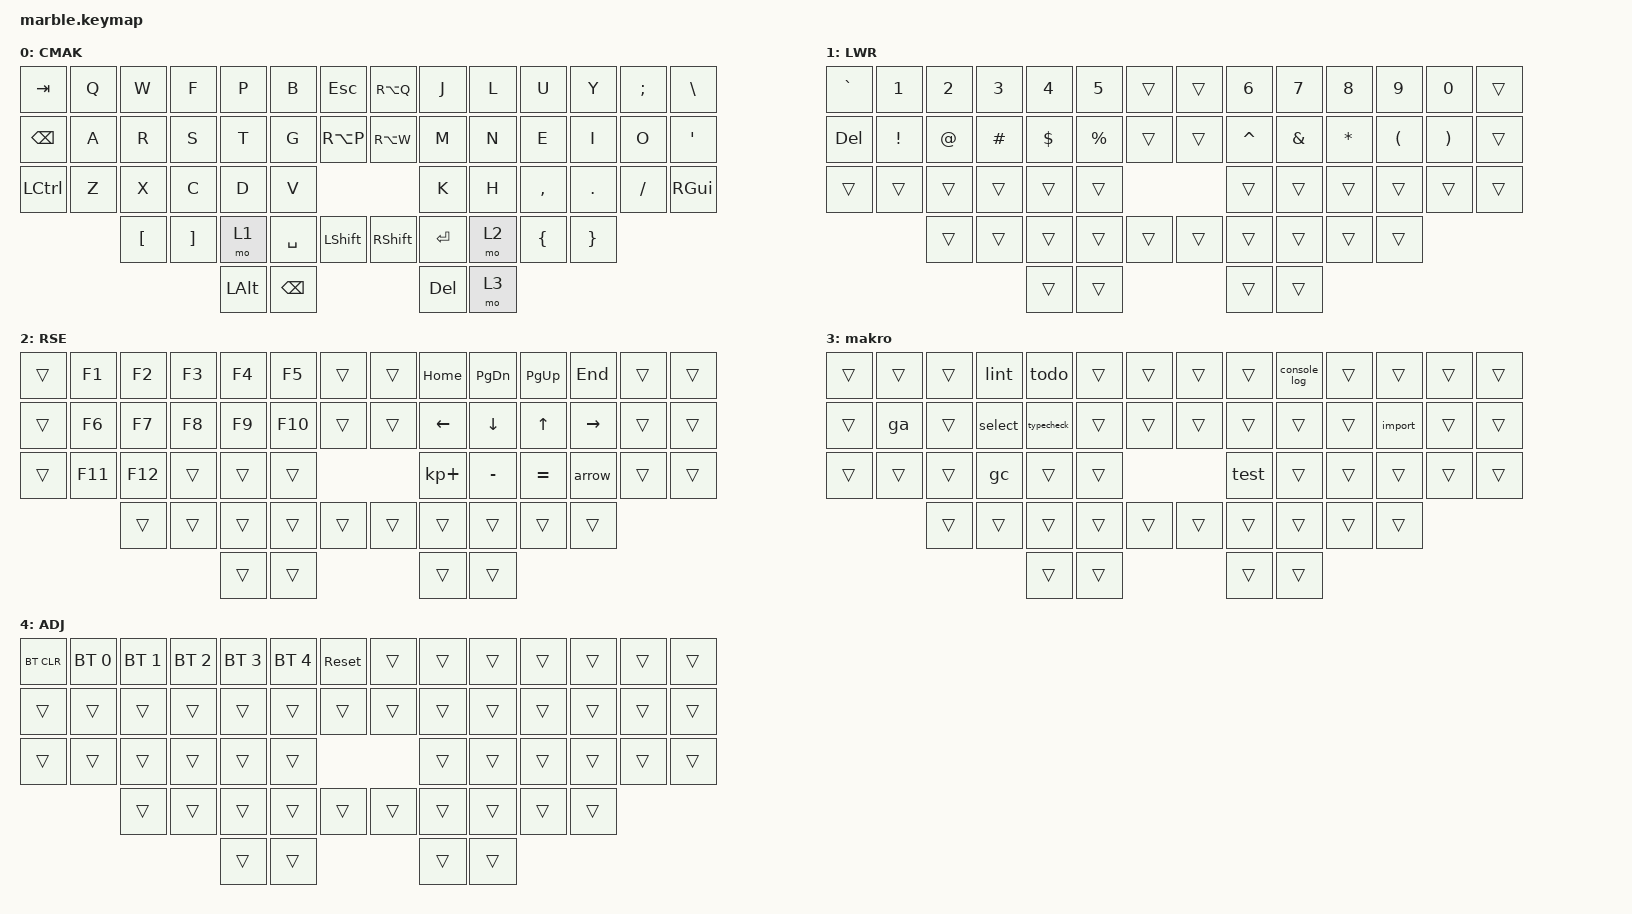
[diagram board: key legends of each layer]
#include <behaviors.dtsi>
#include <dt-bindings/zmk/bt.h>
#include <dt-bindings/zmk/keys.h>

#define CMAK   0
#define LWR   1
#define RSE   2
#define LFT 3
#define RGT 4
#define QWERTY 5
#define ADJ   6

#define HPR(key) LS(LC(LA(LGUI)))
#define MEH(key)   LS(LC(LALT))

&sl { release-after-ms = <5000>; };

&lt { flavor = "hold-preferred"; };

&default_kscan {
    debounce-press-ms = <30>;
    debounce-release-ms = <30>;
};

/ {
    behaviors {
        gqt: global-quick-tap {
            compatible = "zmk,behavior-hold-tap";
            label = "GLOBAL_QUICK_TAP";
            #binding-cells = <2>;
            flavor = "tap-preferred";
            tapping-term-ms = <140>;
            quick-tap-ms = <125>;
            global-quick-tap;
            bindings = <&kp>, <&kp>;

            require-prior-idle-ms = <100>;
        };
    };

    conditional_layers {
        compatible = "zmk,conditional-layers";

        tri_layer {
            if-layers = <2 1>;
            then-layer = <4>;
        };
    };

    macros {
        arrow: arrow {
            compatible = "zmk,behavior-macro";
            label = "ARROW";
            #binding-cells = <0>;
            bindings = <&kp EQUAL &kp GT>;
        };

        gc: gc {
            compatible = "zmk,behavior-macro";
            label = "GC";
            #binding-cells = <0>;
            bindings = <&kp G &kp I &kp T &kp SPACE &kp C &kp O &kp M &kp M &kp I &kp T &kp SPACE &kp MINUS &kp M &kp SPACE &kp DQT &kp DQT &kp LEFT_ARROW>;
        };

        ga: ga {
            compatible = "zmk,behavior-macro";
            label = "GA";
            #binding-cells = <0>;
            bindings = <&kp G &kp I &kp T &kp SPACE &kp A &kp D &kp D &kp SPACE &kp MINUS &kp LS(A)>;
        };

        select: select {
            compatible = "zmk,behavior-macro";
            #binding-cells = <0>;
            bindings = <&none &kp S &kp E &kp L &kp E &kp C &kp T &kp SPACE &kp STAR &kp SPACE &kp F &kp R &kp O &kp M &kp SPACE>;
            label = "SELECT";
        };

        todo: todo {
            compatible = "zmk,behavior-macro";
            #binding-cells = <0>;
            bindings = <&none &kp FSLH &kp FSLH &kp SPACE &kp LS(T) &kp LS(O) &kp LS(D) &kp LS(O) &kp COLON &kp SPACE>;
            label = "TODO";
        };

        console_log: console_log {
            compatible = "zmk,behavior-macro";
            #binding-cells = <0>;
            bindings = <&kp HOME &kp C &kp O &kp N &kp S &kp O &kp L &kp E &kp DOT &kp L &kp O &kp G &kp LPAR &kp END &kp RPAR &kp SEMI>;
            label = "CONSOLE_LOG";
        };

        import: import {
            compatible = "zmk,behavior-macro";
            #binding-cells = <0>;
            bindings = <&none &kp I &kp M &kp P &kp O &kp R &kp T &kp SPACE &kp LBRC &kp SPACE &kp RBRC &kp SPACE &kp F &kp R &kp O &kp M &kp SPACE &kp SQT &kp SQT &kp SEMI &kp LEFT &kp LEFT_ARROW>;
            label = "IMPORT";
        };

        typecheck: typecheck {
            compatible = "zmk,behavior-macro";
            #binding-cells = <0>;
            bindings = <&none &kp P &kp N &kp P &kp M &kp SPACE &kp T &kp Y &kp P &kp E &kp C &kp H &kp E &kp C &kp K>;
            label = "TYPECHECK";
        };

        lint: lint {
            compatible = "zmk,behavior-macro";
            #binding-cells = <0>;
            bindings = <&none &kp P &kp N &kp P &kp M &kp SPACE &kp L &kp I &kp N &kp T &kp SPACE &kp MINUS &kp MINUS &kp SPACE &kp MINUS &kp MINUS &kp F &kp I &kp X>;
            label = "LINT";
        };

        test: test {
            compatible = "zmk,behavior-macro";
            #binding-cells = <0>;
            bindings = <&none &kp P &kp N &kp P &kp M &kp SPACE &kp T &kp E &kp S &kp T>;
            label = "TEST";
        };
    };

    keymap {
        compatible = "zmk,keymap";

        CMAK {
            bindings = <
&kp TAB        &kp Q  &kp W             &kp F              &kp P         &kp B          &kp ESC         &kp RA(Q)        &kp J       &kp L  &kp U           &kp Y            &kp SEMI  &kp BSLH
&kp BACKSPACE  &kp A  &kp R             &kp S              &kp T         &kp G          &kp RA(P)       &kp RA(W)        &kp M       &kp N  &kp E           &kp I            &kp O     &kp SQT
&kp LCTRL      &kp Z  &kp X             &kp C              &kp D         &kp V                                           &kp K       &kp H  &kp COMMA       &kp DOT          &kp FSLH  &kp RIGHT_GUI
                      &kp LEFT_BRACKET  &kp RIGHT_BRACKET  &mo 1         &kp SPACE      &kp LEFT_SHIFT  &kp RIGHT_SHIFT  &kp RETURN  &mo 2  &kp LEFT_BRACE  &kp RIGHT_BRACE
                                                           &kp LEFT_ALT  &kp BACKSPACE                                   &kp DELETE  &mo 3
            >;

            label = "CMAK";
        };

        LWR {
            bindings = <
&kp GRAVE   &kp N1    &kp N2       &kp N3    &kp N4      &kp N5       &trans  &trans  &kp N6     &kp N7         &kp N8        &kp N9                &kp N0                 &trans
&kp DELETE  &kp EXCL  &kp AT_SIGN  &kp HASH  &kp DOLLAR  &kp PERCENT  &trans  &trans  &kp CARET  &kp AMPERSAND  &kp ASTERISK  &kp LEFT_PARENTHESIS  &kp RIGHT_PARENTHESIS  &trans
&trans      &trans    &trans       &trans    &trans      &trans                       &trans     &trans         &trans        &trans                &trans                 &trans
                      &trans       &trans    &trans      &trans       &trans  &trans  &trans     &trans         &trans        &trans
                                             &trans      &trans                       &trans     &trans
            >;

            label = "LWR";
        };

        RSE {
            bindings = <
&trans  &kp F1   &kp F2   &kp F3  &kp F4  &kp F5   &trans  &trans  &kp HOME     &kp PG_DN  &kp PG_UP  &kp END    &trans  &trans
&trans  &kp F6   &kp F7   &kp F8  &kp F9  &kp F10  &trans  &trans  &kp LEFT     &kp DOWN   &kp UP     &kp RIGHT  &trans  &trans
&trans  &kp F11  &kp F12  &trans  &trans  &trans                   &kp KP_PLUS  &kp MINUS  &kp EQUAL  &arrow     &trans  &trans
                 &trans   &trans  &trans  &trans   &trans  &trans  &trans       &trans     &trans     &trans
                                  &trans  &trans                   &trans       &trans
            >;

            label = "RSE";
        };

        makro {
            bindings = <
&trans  &trans  &trans  &lint    &todo       &trans  &trans  &trans  &trans  &console_log  &trans  &trans   &trans  &trans
&trans  &ga     &trans  &select  &typecheck  &trans  &trans  &trans  &trans  &trans        &trans  &import  &trans  &trans
&trans  &trans  &trans  &gc      &trans      &trans                  &test   &trans        &trans  &trans   &trans  &trans
                &trans  &trans   &trans      &trans  &trans  &trans  &trans  &trans        &trans  &trans
                                 &trans      &trans                  &trans  &trans
            >;

            label = "makro";
        };

        ADJ {
            bindings = <
&bt BT_CLR  &bt BT_SEL 0  &bt BT_SEL 1  &bt BT_SEL 2  &bt BT_SEL 3  &bt BT_SEL 4  &sys_reset  &trans  &trans  &trans  &trans  &trans  &trans  &trans
&trans      &trans        &trans        &trans        &trans        &trans        &trans      &trans  &trans  &trans  &trans  &trans  &trans  &trans
&trans      &trans        &trans        &trans        &trans        &trans                            &trans  &trans  &trans  &trans  &trans  &trans
                          &trans        &trans        &trans        &trans        &trans      &trans  &trans  &trans  &trans  &trans
                                                      &trans        &trans                            &trans  &trans
            >;

            label = "ADJ";
        };
    };
};
